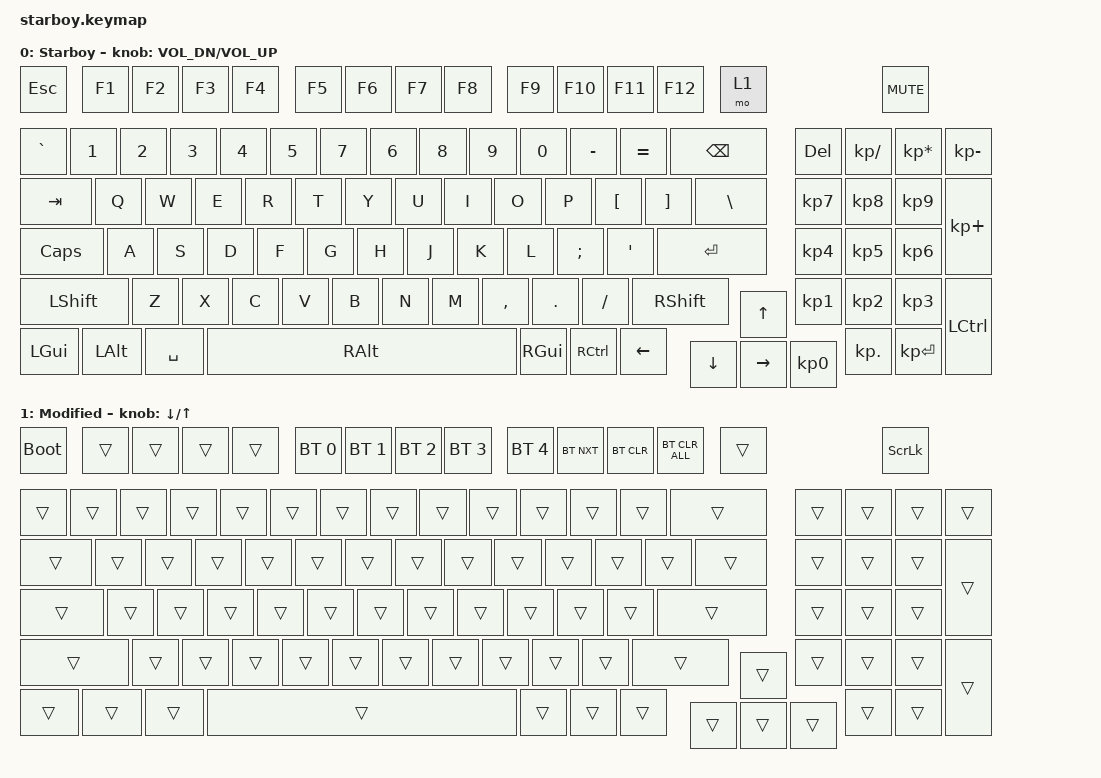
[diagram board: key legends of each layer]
#include <behaviors.dtsi>
#include <dt-bindings/zmk/keys.h>
#include <dt-bindings/zmk/bt.h>
#include <dt-bindings/zmk/pointing.h>
#include <dt-bindings/zmk/ext_power.h>

#define ZMK_POINTING_DEFAULT_SCRL_VAL 40

/ {
    keymap {
        compatible = "zmk,keymap";

        default_layer {
            display-name = "Starboy";
            bindings = <
                &kp ESC &kp F1 &kp F2 &kp F3 &kp F4 &kp F5 &kp F6 &kp F7 &kp F8 &kp F9 &kp F10 &kp F11 &kp F12  &mo 1 &kp C_MUTE
                &kp GRAVE &kp N1 &kp N2 &kp N3 &kp N4 &kp N5 &kp N7 &kp N6 &kp N8 &kp N9 &kp N0 &kp MINUS  &kp EQUAL   &kp BSPC   &kp DEL   &kp KP_SLASH   &kp KP_MULTIPLY   &kp KP_MINUS
                &kp TAB &kp Q &kp W &kp E &kp R &kp T &kp Y &kp U &kp I &kp O &kp P &kp LBKT &kp RBKT &kp BSLH &kp KP_NUMBER_7    &kp KP_NUMBER_8    &kp KP_NUMBER_9    &kp KP_PLUS
                &kp CLCK &kp A &kp S &kp D &kp F &kp G &kp H &kp J &kp K &kp L &kp SEMI &kp SQT &kp RET &kp KP_NUMBER_4   &kp KP_NUMBER_5  &kp KP_NUMBER_6
                &kp LSHFT  &kp Z &kp X  &kp C &kp V   &kp B  &kp N  &kp M  &kp COMMA  &kp DOT   &kp FSLH   &kp RSHFT  &kp UP  &kp KP_NUMBER_1   &kp KP_NUMBER_2  &kp KP_NUMBER_3  
                &kp LCTRL &kp LGUI &kp LALT &kp SPACE &kp RALT &kp RGUI &kp RCTRL &kp LEFT &kp DOWN &kp RIGHT &kp KP_NUMBER_0 &kp KP_DOT &kp KP_ENTER
            >;
            sensor-bindings = <&inc_dec_kp C_VOL_DN C_VOL_UP>;
        };
        mod_layer {
            display-name = "Modified";
            bindings = <
                &bootloader &trans &trans &trans &trans &bt BT_SEL 0 &bt BT_SEL 1 &bt BT_SEL 2 &bt BT_SEL 3 &bt BT_SEL 4 &bt BT_NXT &bt BT_CLR &bt BT_CLR_ALL &trans &kp SCROLLLOCK
                &trans &trans &trans &trans &trans &trans &trans &trans &trans &trans &trans &trans &trans &trans &trans &trans &trans &trans
                &trans &trans &trans &trans &trans &trans &trans &trans &trans &trans &trans &trans &trans &trans &trans &trans &trans &trans
                &trans &trans &trans &trans &trans &trans &trans &trans &trans &trans &trans &trans &trans &trans &trans &trans
                &trans &trans &trans &trans &trans &trans &trans &trans &trans &trans &trans &trans &trans &trans &trans &trans
                &trans &trans &trans &trans &trans &trans &trans &trans &trans &trans &trans &trans &trans
            >;
            sensor-bindings = <&inc_dec_kp DOWN UP>;
        };
    };
};
